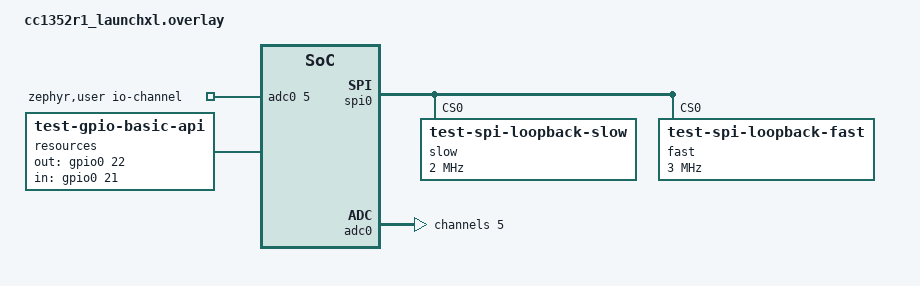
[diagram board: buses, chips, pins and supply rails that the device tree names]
/*
 * Copyright (c) 2022 Kumar Gala <galak@kernel.org>
 *
 * SPDX-License-Identifier: Apache-2.0
 */

&spi0 {
	slow@0 {
		compatible = "test-spi-loopback-slow";
		reg = <0>;
		spi-max-frequency = <2000000>;
	};

	fast@0 {
		compatible = "test-spi-loopback-fast";
		reg = <0>;
		spi-max-frequency = <3000000>;
	};
};

/ {
	zephyr,user {
		io-channels = <&adc0 5>;
	};
};

&adc0 {
	#address-cells = <1>;
	#size-cells = <0>;
	channel@5 {
		reg = <5>;
		zephyr,gain = "ADC_GAIN_1";
		zephyr,reference = "ADC_REF_INTERNAL";
		zephyr,acquisition-time = <ADC_ACQ_TIME_DEFAULT>;
		zephyr,resolution = <12>;
	};
};

/ {
	resources {
		compatible = "test-gpio-basic-api";
		out-gpios = <&gpio0 22 0>;
		in-gpios = <&gpio0 21 0>;
	};
};
